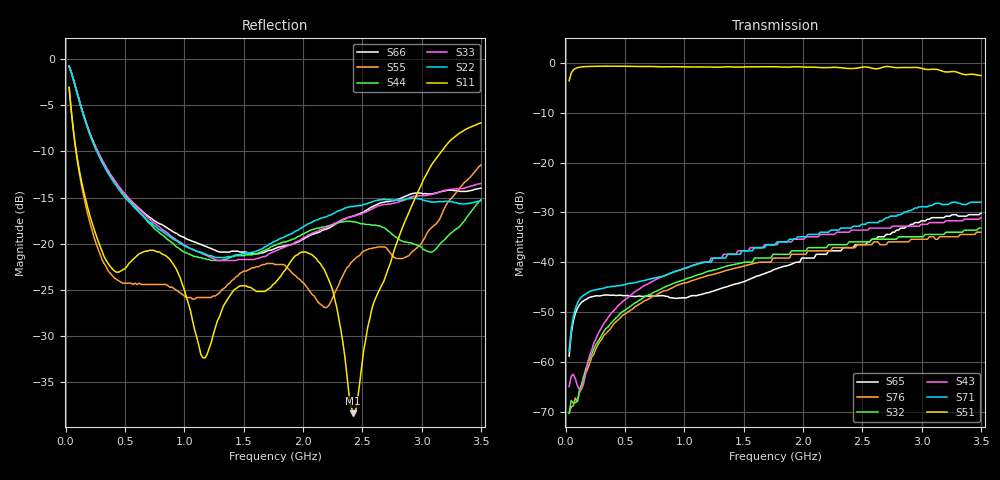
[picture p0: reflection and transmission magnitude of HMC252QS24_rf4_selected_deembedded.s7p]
!Hittite Microwave Corporation
!12 Elizabeth Drive
!Chelmsford, MA 01824
!Tel: 978-250-3343
!Fax: 978-250-3373
!Device: HMC252QS24, DC-3 GHz GaAS MMIC SP6T Non-Reflective Switch in 24-lead QSOP package
!Misc: Port 1 = RFCom, Port 2 = RF1, Port 3 = RF2, Port 4 = RF3, Port 5 = RF4, Port 6 = RF5, Port 7 = RF6, RF4 selected, Vdd=+5V
# MHZ S MA R 50
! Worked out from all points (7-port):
!   201 points, 30 MHz to 3.5 GHz, reference 50 ohm
!   strongest paths, dB at 30 MHz, 897.5 MHz, 1.765 GHz, 2.632 GHz, 3.5 GHz:
!     S51: -3.6, -0.7, -0.7, -1.1, -2.5
!     S71: -57.9, -42.1, -36.5, -32.0, -28.0
!     S43: -65.0, -42.1, -36.5, -33.2, -31.1
!     S32: -70.4, -44.4, -38.4, -35.4, -33.2
!     S76: -70.3, -45.2, -39.2, -35.9, -34.0
!     S65: -58.9, -47.2, -41.4, -34.9, -30.2
!   lowest |S11| = -38.4 dB at 2.424 GHz (marker M1), VSWR 1.02, Z = 49.2 + j0.876 ohm
!   |S11| at or under -10 dB: 90.28 MHz to 3.168 GHz (3.077 GHz wide, 189 % of centre)
